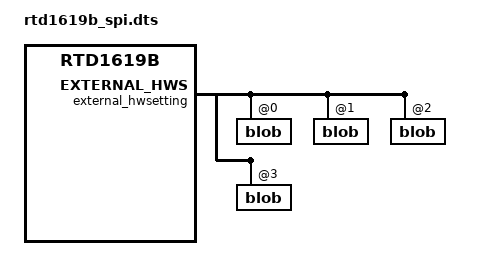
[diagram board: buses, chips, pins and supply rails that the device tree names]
// SPDX-License-Identifier: GPL-2.0+
/dts-v1/;
#include "rtd1619b_spi.dtsi"

&scs_param {
	filename = "scs_param/0000/SCS_Params_Area_RTD1619B_hwsetting_BOOT_2DDR4_8Gb_s2666.ext.bin";
};

&external_hwsetting {
	size = <0x00010000>;
	pad-byte = <0xff>;
	blob@0 {
		filename = "ext_hwsetting_0.bin";
		size = <0x2000>;
	};
	blob@1 {
		filename = "ext_hwsetting_1.bin";
		size = <0x2000>;
	};
	blob@2 {
		filename = "ext_hwsetting_2.bin";
		size = <0x2000>;
	};
	blob@3 {
		filename = "ext_hwsetting_3.bin";
		size = <0x2000>;
	};
};
